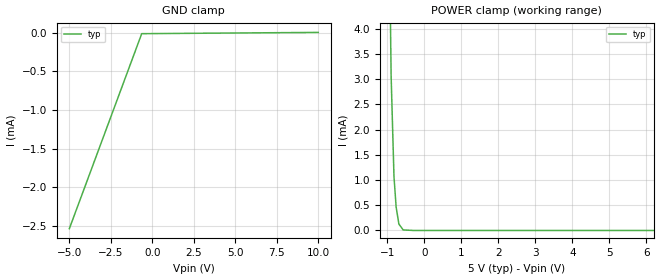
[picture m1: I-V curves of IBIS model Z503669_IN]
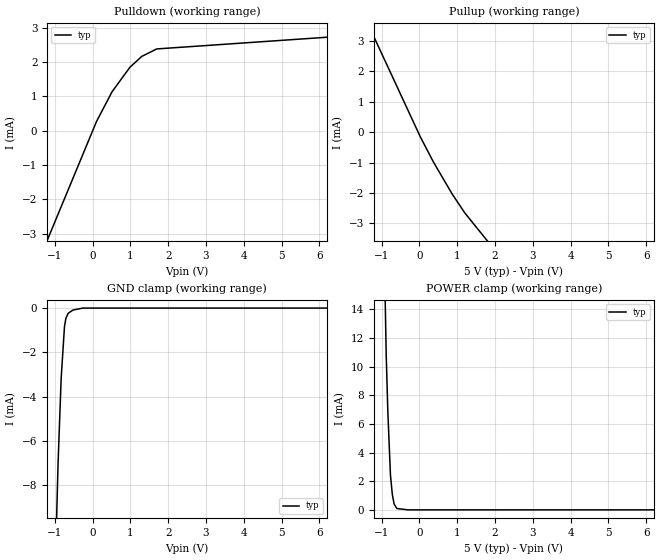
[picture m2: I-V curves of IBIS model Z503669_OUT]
| YOU ARE ONLY AUTHORIZED TO USE THIS SOFTWARE
| ACCORDING TO LICENSOR'S LICENSE RESTRICTIONS.
[IBIS Ver] 3.1
[File Name] mc14555bd.ibs
[File Rev] 2.0
[Source] Measured and created by ICX Technology
[Date] Friday 7/14/00 9:07:57 AM
[Copyright]
| (C) COPYRIGHT 1993-2000
| MENTOR GRAPHICS CORPORATION
| ICX STANDARD LIBRARY, ICX PROJECT MODELING,
| ICX CUSTOM MODELING, ICX VENDOR MODEL
| ALL RIGHTS RESERVED.
| THE FOLLOWING ARE TRADEMARKS OR SERVICE MARKS OF
| MENTOR GRAPHICS CORPORATION:ICX (R), ICX STANDARD
| LIBRARY(R), ICX PROJECT MODELING(R), ICX CUSTOM
| MODELING(R), qualityIBIS(TM), MODELVIEWER(TM),
| AND MODELEDITOR(TM)
| ALL COPIES OF SOFTWARE, INCLUDING BUT NOT LIMITED TO
| ANY MODIFICATIONS, ENHANCEMENTS OR DERIVATIVE WORKS,
| MUST CONTAIN ALL MENTOR GRAPHICS CORPORATION'S
| NOTICES AND LEGENDS, INCLUDING THOSE EMBEDDED IN
| SOFTWARE AND THOSE AFFIXED TO SOFTWARE MEDIUM
| AND CONTAINER, AS RECEIVED FROM MENTOR GRAPHICS
| CORPORATION.
|  ZAP Model Builder 2.7
[Component] MC14555BD
[Manufacturer] OnSemiconductor
[Package]
| variable   typ   min   max
R_pkg  .156ohms NA NA
L_pkg  3.148nH NA NA
C_pkg  .388pF NA NA
[Pin] signal_name  model_name  R_pin  L_pin C_pin
1 _E Z503669_IN .162 3.798n .418p
2 A1 Z503669_IN .158 3.358n .398p
3 B1 Z503669_IN .154 2.928n .378p
4 Q0A Z503669_OUT .15 2.508n .358p
5 Q1A Z503669_OUT .15 2.508n .358p
6 Q2A Z503669_OUT .154 2.928n .378p
7 Q3A Z503669_OUT .158 3.358n .398p
8 VSS POWER .162 3.798n .418p
9 Q3B Z503669_OUT .162 3.798n .418p
10 Q2B Z503669_OUT .158 3.358n .398p
11 Q1B Z503669_OUT .154 2.928n .378p
12 Q0B Z503669_OUT .15 2.508n .358p
13 B2 Z503669_IN .15 2.508n .358p
14 A2 Z503669_IN .154 2.928n .378p
15 _E Z503669_IN .158 3.358n .398p
16 VDD POWER .162 3.798n .418p
| Models and submodels in the file (2): Z503669_IN (Input), Z503669_OUT (Output)
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| (C) COPYRIGHT 1993-2000
| MENTOR GRAPHICS CORPORATION
| ICX STANDARD LIBRARY, ICX PROJECT MODELING,
| ICX CUSTOM MODELING, ICX VENDOR MODEL
| ALL RIGHTS RESERVED.
| THE FOLLOWING ARE TRADEMARKS OR SERVICE MARKS OF
| MENTOR GRAPHICS CORPORATION:ICX (R), ICX STANDARD
| LIBRARY(R), ICX PROJECT MODELING(R), ICX CUSTOM
| MODELING(R), qualityIBIS(TM), MODELVIEWER(TM),
| AND MODELEDITOR(TM)
| ALL COPIES OF SOFTWARE, INCLUDING BUT NOT LIMITED TO
| ANY MODIFICATIONS, ENHANCEMENTS OR DERIVATIVE WORKS,
| MUST CONTAIN ALL MENTOR GRAPHICS CORPORATION'S
| NOTICES AND LEGENDS, INCLUDING THOSE EMBEDDED IN
| SOFTWARE AND THOSE AFFIXED TO SOFTWARE MEDIUM
| AND CONTAINER, AS RECEIVED FROM MENTOR GRAPHICS
| CORPORATION.
| Model Application Version 1.89 2/18/99.
[Model] Z503669_IN
Model_type Input
Vinl = 1.500V
Vinh = 3.500V
C_comp 4.000pF NA NA
| variable typ   min   max
[Voltage Range] 5.000V NA NA
[GND Clamp Reference] 0.000V NA NA
[POWER Clamp Reference] 5.000V NA NA
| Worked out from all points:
|   POWER clamp passes 1 mA (typ) near -0.81 V on its own axis
[GND Clamp]
-5V       -2.537mA   NA         NA
-639.5mV  -13.11uA   NA         NA
10V       3.423uA    NA         NA
[POWER Clamp]
-5V       386.3mA    NA         NA
-1.011V   9.738mA    NA         NA
-897mV    3.051mA    NA         NA
-820mV    1.065mA    NA         NA
-762mV    466.1uA    NA         NA
-688mV    127.5uA    NA         NA
-571mV    10.54uA    NA         NA
-285.5mV  0A         NA         NA
10V       0A         NA         NA
| (C) COPYRIGHT 1993-2000
| MENTOR GRAPHICS CORPORATION
| ICX STANDARD LIBRARY, ICX PROJECT MODELING,
| ICX CUSTOM MODELING, ICX VENDOR MODEL
| ALL RIGHTS RESERVED.
| THE FOLLOWING ARE TRADEMARKS OR SERVICE MARKS OF
| MENTOR GRAPHICS CORPORATION:ICX (R), ICX STANDARD
| LIBRARY(R), ICX PROJECT MODELING(R), ICX CUSTOM
| MODELING(R), qualityIBIS(TM), MODELVIEWER(TM),
| AND MODELEDITOR(TM)
| ALL COPIES OF SOFTWARE, INCLUDING BUT NOT LIMITED TO
| ANY MODIFICATIONS, ENHANCEMENTS OR DERIVATIVE WORKS,
| MUST CONTAIN ALL MENTOR GRAPHICS CORPORATION'S
| NOTICES AND LEGENDS, INCLUDING THOSE EMBEDDED IN
| SOFTWARE AND THOSE AFFIXED TO SOFTWARE MEDIUM
| AND CONTAINER, AS RECEIVED FROM MENTOR GRAPHICS
| CORPORATION.
| Model Application Version 1.89 2/18/99.
[Model] Z503669_OUT
Model_type Output
Vref=0.000V
Rref=500.0Mohms
Cref=50.00pF
Vmeas=2.500V
C_comp 8.000pF NA NA
| variable typ   min   max
[Voltage Range] 5.000V NA NA
[POWER Clamp Reference] 5.000V NA NA
[Pullup Reference] 5.000V NA NA
[Pulldown Reference] 0.000V NA NA
[GND Clamp Reference] 0.000V NA NA
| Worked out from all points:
|   slope of the pulldown table from 0 to 0.75 V, typ, clamps not added: 501 ohm
|   slope of the pullup table from 0 to 0.75 V, typ, clamps not added: 443 ohm
|   GND clamp passes 1 mA (typ) near -0.75 V on its own axis
|   POWER clamp passes 1 mA (typ) near -0.71 V on its own axis
[GND Clamp]
-5V       -269.5mA   NA         NA
-912.4mV  -6.999mA   NA         NA
-830.4mV  -3.168mA   NA         NA
-742mV    -816.3uA   NA         NA
-705.1mV  -461.3uA   NA         NA
-644.8mV  -234.4uA   NA         NA
-516mV    -87.43uA   NA         NA
-258mV    0A         NA         NA
10V       0A         NA         NA
[Pulldown]
-5V       -13.29mA   NA         NA
104.6mV   265.3uA    NA         NA
515mV     1.13mA     NA         NA
989.2mV   1.847mA    NA         NA
1.303V    2.163mA    NA         NA
1.699V    2.38mA     NA         NA
10V       3.008mA    NA         NA
[Pullup]
-5V       13.28mA    NA         NA
24mV      -157.1uA   NA         NA
376mV     -994.9uA   NA         NA
862mV     -2.025mA   NA         NA
1.196V    -2.646mA   NA         NA
10V       -16.2mA    NA         NA
[POWER Clamp]
-5V       598.8mA    NA         NA
-879mV    10.83mA    NA         NA
-836mV    6.857mA    NA         NA
-767mV    2.448mA    NA         NA
-718mV    1.087mA    NA         NA
-669mV    400.3uA    NA         NA
-596mV    91.44uA    NA         NA
-298mV    0A         NA         NA
10V       0A         NA         NA
[Ramp]
| variable typ min max
dV/dt_r 2.568/19.07n NA NA
dV/dt_f 2.568/19.61n NA NA
R_load = 2.500kOhms
